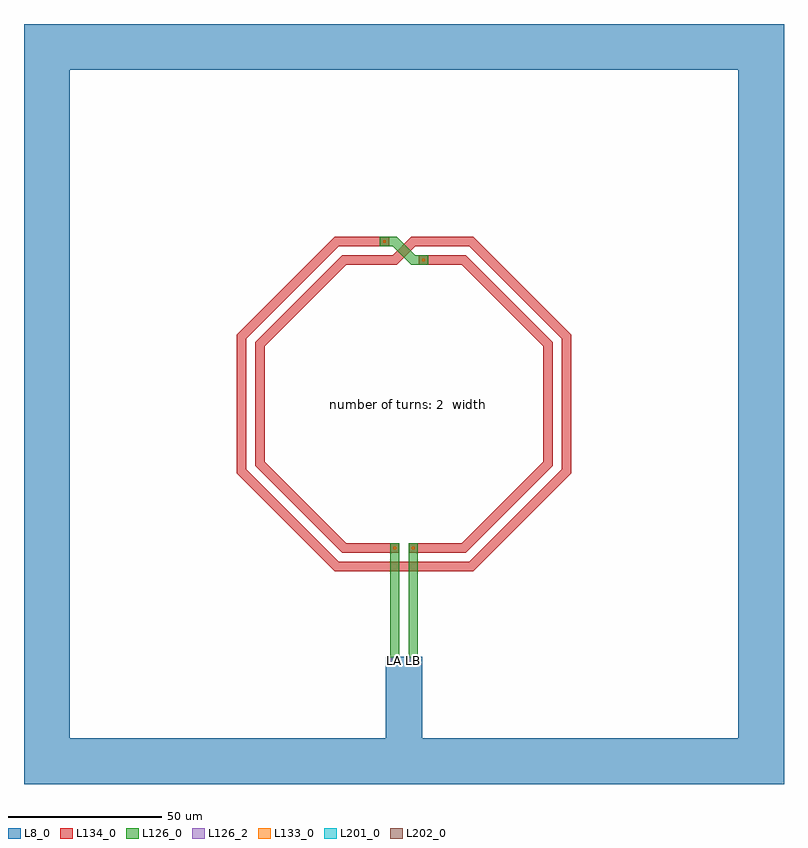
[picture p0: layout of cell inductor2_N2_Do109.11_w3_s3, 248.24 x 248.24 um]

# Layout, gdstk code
import gdstk
lib = gdstk.Library(unit=1e-6, precision=1e-09)
def R(c, l, rs):  # rectangles x0, y0, x1, y1
    for r in rs: c.add(gdstk.rectangle(r[:2], r[2:], *l))
def P(c, l, *ps):  # polygons
    for p in ps: c.add(gdstk.Polygon(p, *l))
L8_0 = (8, 0)
L126_0 = (126, 0)
L126_2 = (126, 2)
L133_0 = (133, 0)
L134_0 = (134, 0)
L201_0 = (201, 0)
L202_0 = (202, 0)

inductor2_n2_do109_11_w3 = lib.new_cell('inductor2_N2_Do109.11_w3_s3')
R(inductor2_n2_do109_11_w3, L8_0, [(-124.12,-124.12,-109.12,124.12), (-109.12,-124.12,109.12,-109.12), (109.12,-124.12,124.12,124.12), (-6,-109.12,6,-82.56), (-109.12,109.12,109.12,124.12)])
R(inductor2_n2_do109_11_w3, L126_0, [(-4.5,-84.56,-1.5,-45.56), (1.5,-84.56,4.5,-45.56)])
P(inductor2_n2_do109_11_w3, L126_0, [(-7.86,54.56),(-7.86,51.56),(-3.621,51.56),(2.379,45.56),(7.86,45.56),(7.86,48.56),(3.621,48.56),(-2.379,54.56)])
R(inductor2_n2_do109_11_w3, L126_2, [(-4.5,-84.56,-1.5,-83.06), (1.5,-84.56,4.5,-83.06)])
R(inductor2_n2_do109_11_w3, L133_0, [(-3.45,-47.51,-2.55,-46.61), (2.55,-47.51,3.45,-46.61), (5.92,46.61,6.82,47.51), (-6.82,52.61,-5.92,53.51)])
R(inductor2_n2_do109_11_w3, L134_0, [(-7.865,-54.56,7.865,-51.56)])
P(inductor2_n2_do109_11_w3, L134_0, [(-4.86,-54.56),(-4.86,-51.56),(-21.359,-51.56),(-51.56,-21.359),(-51.56,3),(-54.56,3),(-54.56,-22.601),(-22.601,-54.56)],
  [(-4.86,51.56),(-4.86,54.56),(-22.601,54.56),(-54.56,22.601),(-54.56,-3),(-51.56,-3),(-51.56,21.359),(-21.359,51.56)],
  [(4.86,-51.56),(4.86,-54.56),(22.601,-54.56),(54.56,-22.601),(54.56,3),(51.56,3),(51.56,-21.359),(21.359,-51.56)],
  [(4.86,54.56),(4.86,51.56),(21.359,51.56),(51.56,21.359),(51.56,-3),(54.56,-3),(54.56,22.601),(22.601,54.56)],
  [(-1.5,-48.56),(-1.5,-45.56),(-18.869,-45.56),(-45.56,-18.869),(-45.56,3),(-48.56,3),(-48.56,-20.111),(-20.111,-48.56)],
  [(-4.86,45.56),(-4.86,48.56),(-20.111,48.56),(-48.56,20.111),(-48.56,-3),(-45.56,-3),(-45.56,18.869),(-18.869,45.56)],
  [(1.5,-45.56),(1.5,-48.56),(20.111,-48.56),(48.56,-20.111),(48.56,3),(45.56,3),(45.56,-18.869),(18.869,-45.56)],
  [(4.86,48.56),(4.86,45.56),(18.869,45.56),(45.56,18.869),(45.56,-3),(48.56,-3),(48.56,20.111),(20.111,48.56)],
  [(-7.86,48.56),(-7.86,45.56),(-2.379,45.56),(3.621,51.56),(7.86,51.56),(7.86,54.56),(2.379,54.56),(-3.621,48.56)])
R(inductor2_n2_do109_11_w3, L201_0, [(-4.5,-84.56,-1.5,-84.46)])
R(inductor2_n2_do109_11_w3, L202_0, [(1.5,-84.56,4.5,-84.46)])
inductor2_n2_do109_11_w3.add(gdstk.Label('LA', (-3,-83.81), layer=27, texttype=25))
inductor2_n2_do109_11_w3.add(gdstk.Label('LB', (3,-83.81), layer=27, texttype=25))
inductor2_n2_do109_11_w3.add(gdstk.Label('  number of turns: 2\n  width: 3.00\n  spacing: 3.00\n  outer diameter: 109.12\n  inner diameter: 91.12\n', (0,0), layer=63, texttype=0))

lib.write_gds('inductor2_N2_Do109.11_w3_s3.gds')
